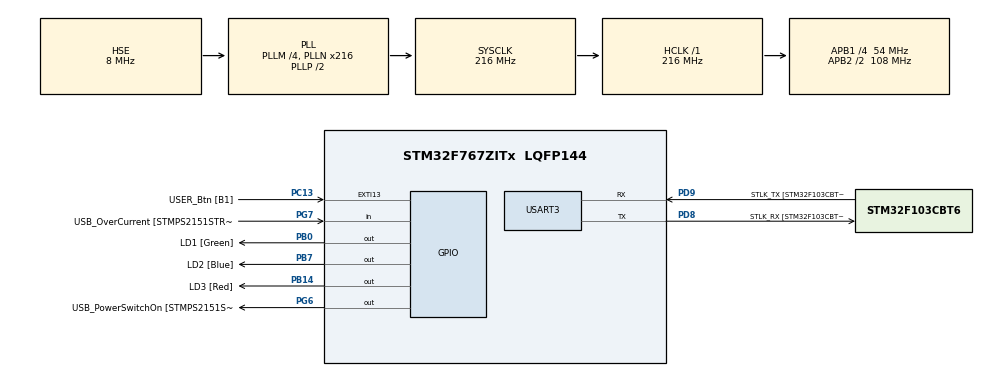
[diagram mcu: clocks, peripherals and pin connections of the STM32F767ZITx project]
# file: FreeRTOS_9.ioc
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FREERTOS.Tasks01=defaultTask,24,128,StartDefaultTask,Default,NULL,Dynamic,NULL,NULL
Mcu.Family=STM32F7
Mcu.Name=STM32F767ZITx
Mcu.Package=LQFP144
NVIC.PriorityGroup=NVIC_PRIORITYGROUP_4
PA1.GPIO_Label=RMII_REF_CLK [LAN8742A-CZ-TR_REFCLK0]
PA1.Signal=ETH_REF_CLK
PA10.GPIO_Label=USB_ID
PA10.Signal=USB_OTG_FS_ID
PA11.GPIO_Label=USB_DM
PA11.Signal=USB_OTG_FS_DM
PA12.GPIO_Label=USB_DP
PA12.Signal=USB_OTG_FS_DP
PA13.GPIO_Label=TMS
PA13.Mode=Serial_Wire
PA13.Signal=SYS_JTMS-SWDIO
PA14.GPIO_Label=TCK
PA14.Mode=Serial_Wire
PA14.Signal=SYS_JTCK-SWCLK
PA2.GPIO_Label=RMII_MDIO [LAN8742A-CZ-TR_MDIO]
PA2.Signal=ETH_MDIO
PA7.GPIO_Label=RMII_CRS_DV [LAN8742A-CZ-TR_CRS_DV]
PA7.Signal=ETH_CRS_DV
PA8.GPIO_Label=USB_SOF [TP1]
PA8.Signal=USB_OTG_FS_SOF
PA9.GPIO_Label=USB_VBUS
PA9.Signal=USB_OTG_FS_VBUS
PB0.GPIO_Label=LD1 [Green]
PB0.Signal=GPIO_Output
PB13.GPIO_Label=RMII_TXD1 [LAN8742A-CZ-TR_TXD1]
PB13.Signal=ETH_TXD1
PB14.GPIO_Label=LD3 [Red]
PB14.Signal=GPIO_Output
PB3.GPIO_Label=SWO
PB3.Signal=SYS_JTDO-SWO
PB7.GPIO_Label=LD2 [Blue]
PB7.Signal=GPIO_Output
PC1.GPIO_Label=RMII_MDC [LAN8742A-CZ-TR_MDC]
PC1.Signal=ETH_MDC
PC13.GPIO_Label=USER_Btn [B1]
PC13.Signal=GPXTI13
PC14/OSC32_IN.Signal=RCC_OSC32_IN
PC15/OSC32_OUT.Signal=RCC_OSC32_OUT
PC4.GPIO_Label=RMII_RXD0 [LAN8742A-CZ-TR_RXD0]
PC4.Signal=ETH_RXD0
PC5.GPIO_Label=RMII_RXD1 [LAN8742A-CZ-TR_RXD1]
PC5.Signal=ETH_RXD1
PD8.GPIO_Label=STLK_RX [STM32F103CBT6_PA3]
PD8.Mode=Asynchronous
PD8.Signal=USART3_TX
PD9.GPIO_Label=STLK_TX [STM32F103CBT6_PA2]
PD9.Mode=Asynchronous
PD9.Signal=USART3_RX
PG11.GPIO_Label=RMII_TX_EN [LAN8742A-CZ-TR_TXEN]
PG11.Signal=ETH_TX_EN
PG13.GPIO_Label=RMII_TXD0 [LAN8742A-CZ-TR_TXD0]
PG13.Signal=ETH_TXD0
PG6.GPIO_Label=USB_PowerSwitchOn [STMPS2151STR_EN]
PG6.Signal=GPIO_Output
PG7.GPIO_Label=USB_OverCurrent [STMPS2151STR_FAULT]
PG7.Signal=GPIO_Input
PH0/OSC_IN.GPIO_Label=MCO [STM32F103CBT6_PA8]
PH0/OSC_IN.Mode=HSE-External-Oscillator
PH0/OSC_IN.Signal=RCC_OSC_IN
PH1/OSC_OUT.Mode=HSE-External-Oscillator
PH1/OSC_OUT.Signal=RCC_OSC_OUT
ProjectManager.HeapSize=0x200
ProjectManager.StackSize=0x400
ProjectManager.TargetToolchain=STM32CubeIDE
RCC.48MHZClocksFreq_Value=24000000
RCC.AHBFreq_Value=216000000
RCC.APB1CLKDivider=RCC_HCLK_DIV4
RCC.APB1Freq_Value=54000000
RCC.APB1TimFreq_Value=108000000
RCC.APB2CLKDivider=RCC_HCLK_DIV2
RCC.APB2Freq_Value=108000000
RCC.APB2TimFreq_Value=216000000
RCC.CortexFreq_Value=216000000
RCC.HCLKFreq_Value=216000000
RCC.HSE_VALUE=8000000
RCC.HSI_VALUE=16000000
RCC.PLLM=4
RCC.PLLMUL=RCC_PLL_MUL9
RCC.PLLN=216
RCC.PLLQ=4
RCC.PLLSourceVirtual=RCC_PLLSOURCE_HSE
RCC.PRESCALERUSB=RCC_USBCLKSOURCE_PLL_DIV1_5
RCC.SYSCLKFreq_VALUE=216000000
RCC.SYSCLKSource=RCC_SYSCLKSOURCE_PLLCLK
RCC.SYSCLKSourceVirtual=RCC_SYSCLKSOURCE_PLLCLK
RCC.USBFreq_Value=108000000
RCC.VCOOutputFreq_Value=432000000
USART3.VirtualMode-Asynchronous=VM_ASYNC
VP_FREERTOS_VS_CMSIS_V2.Mode=CMSIS_V2
board=NUCLEO-F767ZI

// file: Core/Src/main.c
/* USER CODE BEGIN Header */
/**
  ******************************************************************************
  * @file           : main.c
  * @brief          : Main program body
  ******************************************************************************
  * @attention
  *
  * Copyright (c) 2023 STMicroelectronics.
  * All rights reserved.
  *
  * This software is licensed under terms that can be found in the LICENSE file
  * in the root directory of this software component.
  * If no LICENSE file comes with this software, it is provided AS-IS.
  *
  ******************************************************************************
  */
/* USER CODE END Header */
#include "main.h"
#include "cmsis_os.h"
#include "usart.h"
#include "gpio.h"

/* USER CODE BEGIN Includes */
#include "SEGGER_SYSVIEW.h"
#include "queue.h"
/* USER CODE END Includes */

/* USER CODE BEGIN PTD */
typedef enum {ALL_OFF, RED_ON, RED_OFF, BLUE_ON, BLUE_OFF, GREEN_ON, GREEN_OFF, ALL_ON} LED_CMD;

#define MAX_MSG_LEN		256
typedef struct
{
	uint32_t greenLedState:		1;
	uint32_t blueLedState:		1;
	uint32_t redLedState:		1;
	uint32_t msDelayTime;
	char message[MAX_MSG_LEN];
}LedStates_t;
/* USER CODE END PTD */

/* USER CODE BEGIN PD */
#define STACK_SIZE	128

#define GREEN_LED_MASK		0x0001
#define BLUE_LED_MASK		0x0002
#define RED_LED_MASK		0x0004
/* USER CODE END PD */

/* USER CODE BEGIN PV */
static QueueHandle_t LedCmdQueue = NULL;
static xTaskHandle receiveTaskHandle = NULL;
/* USER CODE END PV */

void SystemClock_Config(void);
void MX_FREERTOS_Init(void);
/* USER CODE BEGIN PFP */
void sendTask(void *arg);
void receiveTask(void *arg);
/* USER CODE END PFP */

int main(void)
{
  /* USER CODE BEGIN 1 */
  LedCmdQueue = xQueueCreate(16, sizeof(LedStates_t));
  assert_param(LedCmdQueue != NULL);
  /* USER CODE END 1 */

  /* MCU Configuration--------------------------------------------------------*/

  /* Reset of all peripherals, Initializes the Flash interface and the Systick. */
  HAL_Init();

  /* Configure the system clock */
  SystemClock_Config();

  /* USER CODE BEGIN SysInit */
  SEGGER_SYSVIEW_Conf();
  /* USER CODE END SysInit */

  /* Initialize all configured peripherals */
  MX_GPIO_Init();
  MX_USART3_UART_Init();
  /* USER CODE BEGIN 2 */
  xTaskCreate(sendTask, "sendTask", STACK_SIZE, NULL, configMAX_PRIORITIES - 1, NULL);
  uint8_t retVal = xTaskCreate(receiveTask, "receiveTask", STACK_SIZE, NULL, tskIDLE_PRIORITY + 1, &receiveTaskHandle);
  assert_param(retVal ==pdPASS);
  assert_param(receiveTaskHandle != NULL);

  /* USER CODE END 2 */

  /* Init scheduler */
  osKernelInitialize();  /* Call init function for freertos objects (in freertos.c) */
  MX_FREERTOS_Init();

  /* Start scheduler */
  osKernelStart();

  /* We should never get here as control is now taken by the scheduler */
  /* Infinite loop */
  while (1)
  {

  }
}

void SystemClock_Config(void)
{
  RCC_OscInitTypeDef RCC_OscInitStruct = {0};
  RCC_ClkInitTypeDef RCC_ClkInitStruct = {0};

  /** Configure the main internal regulator output voltage
  */
  __HAL_RCC_PWR_CLK_ENABLE();
  __HAL_PWR_VOLTAGESCALING_CONFIG(PWR_REGULATOR_VOLTAGE_SCALE1);

  /** Initializes the RCC Oscillators according to the specified parameters
  * in the RCC_OscInitTypeDef structure.
  */
  RCC_OscInitStruct.OscillatorType = RCC_OSCILLATORTYPE_HSE;
  RCC_OscInitStruct.HSEState = RCC_HSE_ON;
  RCC_OscInitStruct.PLL.PLLState = RCC_PLL_ON;
  RCC_OscInitStruct.PLL.PLLSource = RCC_PLLSOURCE_HSE;
  RCC_OscInitStruct.PLL.PLLM = 4;
  RCC_OscInitStruct.PLL.PLLN = 216;
  RCC_OscInitStruct.PLL.PLLP = RCC_PLLP_DIV2;
  RCC_OscInitStruct.PLL.PLLQ = 4;
  RCC_OscInitStruct.PLL.PLLR = 2;
  if (HAL_RCC_OscConfig(&RCC_OscInitStruct) != HAL_OK)
  {
    Error_Handler();
  }

  /** Activate the Over-Drive mode
  */
  if (HAL_PWREx_EnableOverDrive() != HAL_OK)
  {
    Error_Handler();
  }

  /** Initializes the CPU, AHB and APB buses clocks
  */
  RCC_ClkInitStruct.ClockType = RCC_CLOCKTYPE_HCLK|RCC_CLOCKTYPE_SYSCLK
                              |RCC_CLOCKTYPE_PCLK1|RCC_CLOCKTYPE_PCLK2;
  RCC_ClkInitStruct.SYSCLKSource = RCC_SYSCLKSOURCE_PLLCLK;
  RCC_ClkInitStruct.AHBCLKDivider = RCC_SYSCLK_DIV1;
  RCC_ClkInitStruct.APB1CLKDivider = RCC_HCLK_DIV4;
  RCC_ClkInitStruct.APB2CLKDivider = RCC_HCLK_DIV2;

  if (HAL_RCC_ClockConfig(&RCC_ClkInitStruct, FLASH_LATENCY_7) != HAL_OK)
  {
    Error_Handler();
  }
}

/* USER CODE BEGIN 4 */
void receiveTask(void *arg)
{
	LedStates_t nextCmd;

	while(1)
	{
		uint32_t notificationValue = ulTaskNotifyTake(pdTRUE, portMAX_DELAY);

		if((notificationValue & RED_LED_MASK) != 0)
			HAL_GPIO_WritePin(LD3_GPIO_Port, LD3_Pin, GPIO_PIN_SET);
		else
			HAL_GPIO_WritePin(LD3_GPIO_Port, LD3_Pin, GPIO_PIN_RESET);

		if((notificationValue & BLUE_LED_MASK) != 0)
			HAL_GPIO_WritePin(LD2_GPIO_Port, LD2_Pin, GPIO_PIN_SET);
		else
			HAL_GPIO_WritePin(LD2_GPIO_Port, LD2_Pin, GPIO_PIN_RESET);

		if((notificationValue & GREEN_LED_MASK) != 0)
			HAL_GPIO_WritePin(LD1_GPIO_Port, LD1_Pin, GPIO_PIN_SET);
		else
			HAL_GPIO_WritePin(LD1_GPIO_Port, LD1_Pin, GPIO_PIN_RESET);

	}
}

void sendTask(void *arg)
{
	LedStates_t nextState;

	while(1)
	{
		xTaskNotify(receiveTaskHandle, RED_LED_MASK, eSetValueWithOverwrite);
		vTaskDelay(200/portTICK_PERIOD_MS);

		xTaskNotify(receiveTaskHandle, BLUE_LED_MASK, eSetValueWithOverwrite);
		vTaskDelay(200/portTICK_PERIOD_MS);

		xTaskNotify(receiveTaskHandle, GREEN_LED_MASK, eSetValueWithOverwrite);
		vTaskDelay(200/portTICK_PERIOD_MS);
	}
}
/* USER CODE END 4 */

void Error_Handler(void)
{
  __disable_irq();
  while (1)
  {
  }
}
